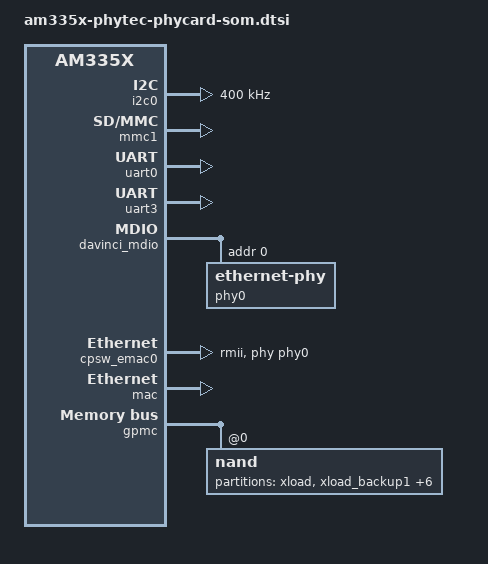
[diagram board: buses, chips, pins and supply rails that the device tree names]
/ {
	chosen {
		stdout-path = &uart0;

		environment-nand {
			compatible = "barebox,environment";
			device-path = &nand, "partname:bareboxenv";
			status = "disabled";
		};
	};
};

&am33xx_pinmux {

	i2c0_pins: pinmux_i2c0_pins {
			pinctrl-single,pins = <
			0x188 (PIN_INPUT_PULLUP | MUX_MODE0)    /* i2c0_sda.i2c0_sda */
			0x18c (PIN_INPUT_PULLUP | MUX_MODE0)    /* i2c0_scl.i2c0_scl */
		>;
	};

	uart0_pins: pinmux_uart0_pins {
		pinctrl-single,pins = <
			0x170 (PIN_INPUT_PULLUP | MUX_MODE0)    /* uart0_rxd.uart0_rxd */
			0x174 (PIN_OUTPUT_PULLDOWN | MUX_MODE0) /* uart0_txd.uart0_txd */
		>;
	};

	uart3_pins: pinmux_uart3 {
		pinctrl-single,pins = <
			0x134 (PIN_INPUT_PULLUP | MUX_MODE1)    /* mii1_rxd3.uart3_rxd */
			0x138 (PIN_OUTPUT_PULLDOWN | MUX_MODE1) /* mii1_rxd2.uart3_txd */
		>;
	};

	mmc1_pins: pinmux_mmc1_pins {
		pinctrl-single,pins = <
			0xf0 (MUX_MODE0 | INPUT_EN | PULL_UP)	/* mmc0_dat3.mmc0_dat3 */
			0xf4 (MUX_MODE0 | INPUT_EN | PULL_UP)	/* mmc0_dat2.mmc0_dat2 */
			0xf8 (MUX_MODE0 | INPUT_EN | PULL_UP)	/* mmc0_dat1.mmc0_dat1 */
			0xfc (MUX_MODE0 | INPUT_EN | PULL_UP)	/* mmc0_dat0.mmc0_dat0 */
			0x100 (MUX_MODE0 | INPUT_EN | PULL_UP)	/* mmc0_clk.mmc0_clk */
			0x104 (MUX_MODE0 | INPUT_EN | PULL_UP)	/* mmc0_cmd.mmc0_cmd */
		>;
	};

	emac_rmii1_pins: pinmux_emac_rmii1_pins {
		pinctrl-single,pins = <
			0x10c (PIN_INPUT_PULLDOWN | MUX_MODE1)	/* mii1_crs.rmii1_crs_dv */
			0x110 (PIN_INPUT_PULLDOWN | MUX_MODE1)	/* mii1_rxerr.rmii1_rxerr */
			0x114 (PIN_OUTPUT | MUX_MODE1)		/* mii1_txen.rmii1_txen */
			0x124 (PIN_OUTPUT | MUX_MODE1)		/* mii1_txd1.rmii1_txd1 */
			0x128 (PIN_OUTPUT | MUX_MODE1)		/* mii1_txd0.rmii1_txd0 */
			0x13c (PIN_INPUT_PULLDOWN | MUX_MODE1)	/* mii1_rxd1.rmii1_rxd1 */
			0x140 (PIN_INPUT_PULLDOWN | MUX_MODE1)	/* mii1_rxd0.rmii1_rxd0 */
			0x144 (PIN_INPUT_PULLDOWN | MUX_MODE0)	/* rmii1_refclk.rmii1_refclk */
		>;
	};

	nandflash_pins_s0: nandflash_pins_s0 {
		pinctrl-single,pins = <
			0x0 (PIN_INPUT_PULLUP | MUX_MODE0)	/* gpmc_ad0.gpmc_ad0 */
			0x4 (PIN_INPUT_PULLUP | MUX_MODE0)	/* gpmc_ad1.gpmc_ad1 */
			0x8 (PIN_INPUT_PULLUP | MUX_MODE0)	/* gpmc_ad2.gpmc_ad2 */
			0xc (PIN_INPUT_PULLUP | MUX_MODE0)	/* gpmc_ad3.gpmc_ad3 */
			0x10 (PIN_INPUT_PULLUP | MUX_MODE0)	/* gpmc_ad4.gpmc_ad4 */
			0x14 (PIN_INPUT_PULLUP | MUX_MODE0)	/* gpmc_ad5.gpmc_ad5 */
			0x18 (PIN_INPUT_PULLUP | MUX_MODE0)	/* gpmc_ad6.gpmc_ad6 */
			0x1c (PIN_INPUT_PULLUP | MUX_MODE0)	/* gpmc_ad7.gpmc_ad7 */
			0x70 (PIN_INPUT_PULLUP | MUX_MODE0)	/* gpmc_wait0.gpmc_wait0 */
			0x7c (PIN_OUTPUT | MUX_MODE0)		/* gpmc_csn0.gpmc_csn0  */
			0x90 (PIN_OUTPUT | MUX_MODE0)		/* gpmc_advn_ale.gpmc_advn_ale */
			0x94 (PIN_OUTPUT | MUX_MODE0)		/* gpmc_oen_ren.gpmc_oen_ren */
			0x98 (PIN_OUTPUT | MUX_MODE0)		/* gpmc_wen.gpmc_wen */
			0x9c (PIN_OUTPUT | MUX_MODE0)		/* gpmc_be0n_cle.gpmc_be0n_cle */
		>;
	};

	davinci_mdio_default: davinci_mdio_default {
		pinctrl-single,pins = <
			/* MDIO */
			0x148 (PIN_INPUT_PULLUP | SLEWCTRL_FAST | MUX_MODE0)	/* mdio_data.mdio_data */
			0x14c (PIN_OUTPUT_PULLUP | MUX_MODE0)			/* mdio_clk.mdio_clk */
		>;
	};
};

&i2c0 {
	pinctrl-names = "default";
	pinctrl-0 = <&i2c0_pins>;

	status = "okay";
	clock-frequency = <400000>;

	eeprom: eeprom@54 {
		status = "disabled";
		compatible = "atmel,24c32";
		pagesize = <32>;
		reg = <0x54>;
	};
};

&mmc1 {
	pinctrl-names = "default";
	pinctrl-0 = <&mmc1_pins>;
	status = "okay";
};

&uart0 {
	pinctrl-names = "default";
	pinctrl-0 = <&uart0_pins>;
	status = "okay";
};

&uart3 {
	pinctrl-names = "default";
	pinctrl-0 = <&uart3_pins>;
	status = "okay";
};

&davinci_mdio {
	pinctrl-names = "default";
	pinctrl-0 = <&davinci_mdio_default>;
	status = "okay";

	phy0: ethernet-phy@0 {
		reg = <0>;
	};
};

&phy_sel {
	rmii-clock-ext;
};

&cpsw_emac0 {
	phy-handle = <&phy0>;
	phy-mode = "rmii";
	dual_emac_res_vlan = <1>;
};

&mac {
	pinctrl-names = "default";
	pinctrl-0 = <&emac_rmii1_pins>;
	slaves = <1>;
	status = "okay";
};

&gpmc {
	status = "okay";
	pinctrl-names = "default";
	pinctrl-0 = <&nandflash_pins_s0>;
	ranges = <0 0 0x08000000 0x1000000>;	/* CS0: 16MB for NAND */
	nand: nand@0,0 {
		reg = <0 0 4>; /* CS0, offset 0, IO size 4 */
		nand-bus-width = <8>;
		ti,nand-ecc-opt = "bch8";
		gpmc,device-nand = "true";
		gpmc,device-width = <1>;
		gpmc,sync-clk-ps = <0>;
		gpmc,cs-on-ns = <0>;
		gpmc,cs-rd-off-ns = <30>;
		gpmc,cs-wr-off-ns = <30>;
		gpmc,adv-on-ns = <0>;
		gpmc,adv-rd-off-ns = <30>;
		gpmc,adv-wr-off-ns = <30>;
		gpmc,we-on-ns = <0>;
		gpmc,we-off-ns = <20>;
		gpmc,oe-on-ns = <10>;
		gpmc,oe-off-ns = <30>;
		gpmc,access-ns = <30>;
		gpmc,rd-cycle-ns = <30>;
		gpmc,wr-cycle-ns = <30>;
		gpmc,wait-pin = <1>;
		gpmc,wait-on-read = "true";
		gpmc,wait-on-write = "true";
		gpmc,bus-turnaround-ns = <0>;
		gpmc,cycle2cycle-delay-ns = <50>;
		gpmc,cycle2cycle-diffcsen;
		gpmc,clk-activation-ns = <0>;
		gpmc,wait-monitoring-ns = <0>;
		gpmc,wr-access-ns = <0>;
		gpmc,wr-data-mux-bus-ns = <0>;

		#address-cells = <1>;
		#size-cells = <1>;
		elm_id = <&elm>;

		partition@0 {
			label = "xload";
			reg = <0x0 0x20000>;
		};

		partition@20000 {
			label = "xload_backup1";
			reg = <0x20000 0x20000>;
		};

		partition@40000 {
			label = "xload_backup2";
			reg = <0x40000 0x20000>;
		};

		partition@60000 {
			label = "xload_backup3";
			reg = <0x60000 0x20000>;
		};

		partition@80000 {
			label = "barebox";
			reg = <0x80000 0x80000>;
		};

		partition@100000 {
			label = "barebox_backup";
			reg = <0x100000 0x80000>;
		};

		partition@180000 {
			label = "bareboxenv";
			reg = <0x180000 0x40000>;
		};

		partition@1C0000 {
			label = "root";
			/*
			 * Size 0x0 extends partition to
			 * end of nand flash.
			 */
			reg = <0x1C0000 0x0>;
		};
	};
};
